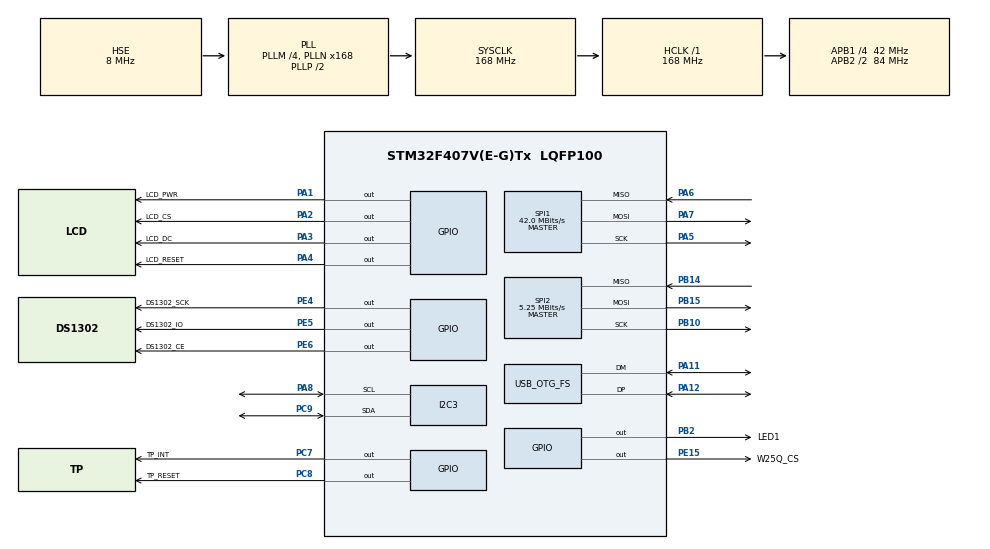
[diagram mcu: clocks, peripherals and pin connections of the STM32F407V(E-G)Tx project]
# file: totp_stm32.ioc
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Dma.Request0=SPI1_RX
Dma.Request1=SPI1_TX
Dma.SPI1_RX.0.Direction=DMA_PERIPH_TO_MEMORY
Dma.SPI1_RX.0.FIFOMode=DMA_FIFOMODE_DISABLE
Dma.SPI1_RX.0.Instance=DMA2_Stream0
Dma.SPI1_RX.0.MemDataAlignment=DMA_MDATAALIGN_BYTE
Dma.SPI1_RX.0.MemInc=DMA_MINC_ENABLE
Dma.SPI1_RX.0.Mode=DMA_NORMAL
Dma.SPI1_RX.0.PeriphDataAlignment=DMA_PDATAALIGN_BYTE
Dma.SPI1_RX.0.PeriphInc=DMA_PINC_DISABLE
Dma.SPI1_RX.0.Priority=DMA_PRIORITY_MEDIUM
Dma.SPI1_TX.1.Direction=DMA_MEMORY_TO_PERIPH
Dma.SPI1_TX.1.FIFOMode=DMA_FIFOMODE_DISABLE
Dma.SPI1_TX.1.Instance=DMA2_Stream3
Dma.SPI1_TX.1.MemDataAlignment=DMA_MDATAALIGN_BYTE
Dma.SPI1_TX.1.MemInc=DMA_MINC_ENABLE
Dma.SPI1_TX.1.Mode=DMA_NORMAL
Dma.SPI1_TX.1.PeriphDataAlignment=DMA_PDATAALIGN_BYTE
Dma.SPI1_TX.1.PeriphInc=DMA_PINC_DISABLE
Dma.SPI1_TX.1.Priority=DMA_PRIORITY_MEDIUM
FATFS._MAX_SS=4096
Mcu.Family=STM32F4
Mcu.Name=STM32F407V(E-G)Tx
Mcu.Package=LQFP100
NVIC.DMA2_Stream0_IRQn=true\:0\:0\:false\:false\:true\:false\:true\:true
NVIC.DMA2_Stream3_IRQn=true\:0\:0\:false\:false\:true\:false\:true\:true
NVIC.OTG_FS_IRQn=true\:0\:0\:false\:false\:true\:true\:true\:true
NVIC.PriorityGroup=NVIC_PRIORITYGROUP_4
PA1.GPIO_Label=LCD_PWR
PA1.Signal=GPIO_Output
PA11.Mode=Device_Only
PA11.Signal=USB_OTG_FS_DM
PA12.Mode=Device_Only
PA12.Signal=USB_OTG_FS_DP
PA13.Mode=Serial_Wire
PA13.Signal=SYS_JTMS-SWDIO
PA14.Mode=Serial_Wire
PA14.Signal=SYS_JTCK-SWCLK
PA2.GPIO_Label=LCD_CS
PA2.Signal=GPIO_Output
PA3.GPIO_Label=LCD_DC
PA3.Signal=GPIO_Output
PA4.GPIO_Label=LCD_RESET
PA4.Signal=GPIO_Output
PA5.Mode=Full_Duplex_Master
PA5.Signal=SPI1_SCK
PA6.Mode=Full_Duplex_Master
PA6.Signal=SPI1_MISO
PA7.Mode=Full_Duplex_Master
PA7.Signal=SPI1_MOSI
PA8.Mode=I2C
PA8.Signal=I2C3_SCL
PB10.Mode=Full_Duplex_Master
PB10.Signal=SPI2_SCK
PB14.Mode=Full_Duplex_Master
PB14.Signal=SPI2_MISO
PB15.Mode=Full_Duplex_Master
PB15.Signal=SPI2_MOSI
PB2.GPIO_Label=LED1
PB2.Signal=GPIO_Output
PC14-OSC32_IN.Mode=LSE-External-Oscillator
PC14-OSC32_IN.Signal=RCC_OSC32_IN
PC15-OSC32_OUT.Mode=LSE-External-Oscillator
PC15-OSC32_OUT.Signal=RCC_OSC32_OUT
PC7.GPIO_Label=TP_INT
PC7.GPIO_Speed=GPIO_SPEED_FREQ_HIGH
PC7.Signal=GPIO_Output
PC8.GPIO_Label=TP_RESET
PC8.GPIO_PuPd=GPIO_PULLUP
PC8.GPIO_Speed=GPIO_SPEED_FREQ_HIGH
PC8.Signal=GPIO_Output
PC9.Mode=I2C
PC9.Signal=I2C3_SDA
PE15.GPIO_Label=W25Q_CS
PE15.GPIO_Speed=GPIO_SPEED_FREQ_VERY_HIGH
PE15.Signal=GPIO_Output
PE4.GPIO_Label=DS1302_SCK
PE4.Signal=GPIO_Output
PE5.GPIO_Label=DS1302_IO
PE5.Signal=GPIO_Output
PE6.GPIO_Label=DS1302_CE
PE6.Signal=GPIO_Output
PH0-OSC_IN.Mode=HSE-External-Oscillator
PH0-OSC_IN.Signal=RCC_OSC_IN
PH1-OSC_OUT.Mode=HSE-External-Oscillator
PH1-OSC_OUT.Signal=RCC_OSC_OUT
ProjectManager.HeapSize=0x200
ProjectManager.StackSize=0x400
ProjectManager.TargetToolchain=STM32CubeIDE
RCC.48MHZClocksFreq_Value=48000000
RCC.AHBFreq_Value=168000000
RCC.APB1CLKDivider=RCC_HCLK_DIV4
RCC.APB1Freq_Value=42000000
RCC.APB1TimFreq_Value=84000000
RCC.APB2CLKDivider=RCC_HCLK_DIV2
RCC.APB2Freq_Value=84000000
RCC.APB2TimFreq_Value=168000000
RCC.CortexFreq_Value=168000000
RCC.HCLKFreq_Value=168000000
RCC.HSE_VALUE=8000000
RCC.HSI_VALUE=16000000
RCC.PLLM=4
RCC.PLLN=168
RCC.PLLQ=7
RCC.RCC_RTC_Clock_Source=RCC_RTCCLKSOURCE_LSI
RCC.RCC_RTC_Clock_SourceVirtual=RCC_RTCCLKSOURCE_LSE
RCC.SYSCLKFreq_VALUE=168000000
RCC.SYSCLKSource=RCC_SYSCLKSOURCE_PLLCLK
RCC.VCOOutputFreq_Value=336000000
SPI1.CalculateBaudRate=42.0 MBits/s
SPI1.Direction=SPI_DIRECTION_2LINES
SPI1.Mode=SPI_MODE_MASTER
SPI1.VirtualType=VM_MASTER
SPI2.BaudRatePrescaler=SPI_BAUDRATEPRESCALER_8
SPI2.CLKPhase=SPI_PHASE_1EDGE
SPI2.CLKPolarity=SPI_POLARITY_LOW
SPI2.CalculateBaudRate=5.25 MBits/s
SPI2.Direction=SPI_DIRECTION_2LINES
SPI2.Mode=SPI_MODE_MASTER
SPI2.VirtualType=VM_MASTER
USB_OTG_FS.VirtualMode=Device_Only
VP_FATFS_VS_Generic.Mode=User_defined
board=custom

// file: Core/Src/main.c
/* USER CODE BEGIN Header */
/**
  ******************************************************************************
  * @file           : main.c
  * @brief          : Main program body
  ******************************************************************************
  * @attention
  *
  * Copyright (c) 2025 STMicroelectronics.
  * All rights reserved.
  *
  * This software is licensed under terms that can be found in the LICENSE file
  * in the root directory of this software component.
  * If no LICENSE file comes with this software, it is provided AS-IS.
  *
  ******************************************************************************
  */
/* USER CODE END Header */
#include "main.h"
#include "fatfs.h"

/* USER CODE BEGIN Includes */
#include <stdio.h>
#include <sys/errno.h>
#include "SEGGER_RTT.h"

#include "lvgl.h"
#include "lv_port_disp.h"
#include "lv_port_indev.h"
#include "gui_guider.h"

#include "TOTP.h"
#include <time.h>

#include "app_usb_msc.h"
#include "ffconf.h"
#include "ff.h"
#include "file_opera.h"
#include "w25flash.h"

#include "base32.h"
#include "ds1302.h"
#include "usbd_core.h"
/* USER CODE END Includes */

/* USER CODE BEGIN PD */
#define BLK_ON HAL_GPIO_WritePin(LCD_PWR_GPIO_Port, LCD_PWR_Pin, GPIO_PIN_SET);
#define BLK_OFF HAL_GPIO_WritePin(LCD_PWR_GPIO_Port, LCD_PWR_Pin, GPIO_PIN_RESET);
#define printf(...) SEGGER_RTT_printf(0, ##__VA_ARGS__)
/* USER CODE END PD */

I2C_HandleTypeDef hi2c3;

SPI_HandleTypeDef hspi1;
SPI_HandleTypeDef hspi2;
DMA_HandleTypeDef hdma_spi1_rx;
DMA_HandleTypeDef hdma_spi1_tx;

PCD_HandleTypeDef hpcd_USB_OTG_FS;

/* USER CODE BEGIN PV */
uint8_t hours, minutes, seconds;
uint8_t weekday, date, month;
uint16_t year;
lv_ui guider_ui;
uint8_t hmacKey[] = {0x87, 0xa8, 0xfa, 0x14, 0x93, 0x6c, 0x4e, 0x64, 0x91, 0x0e};
Time_s syncTime = {.clockSystem = DS1302_CLK_SYSTEM_24};
Time_s systemTime = {.clockSystem = DS1302_CLK_SYSTEM_24};
TOTP_Generator generatorA;
TOTP_Generator generatorB;
TOTP_Generator generatorC;
TOTP_Generator generatorD;
TOTP_Generator generatorE;
int sync_state = 3; // 0 refer OK, 1 refer fail, 3 refer init
int err_times = 0;
/* USER CODE END PV */

void SystemClock_Config(void);
static void MX_GPIO_Init(void);
static void MX_DMA_Init(void);
static void MX_SPI1_Init(void);
static void MX_USB_OTG_FS_PCD_Init(void);
static void MX_I2C3_Init(void);
static void MX_SPI2_Init(void);

/* USER CODE BEGIN 0 */
void update_table_2fa()
{
  printf("%s\r\n", dataEntries[0].code);
  printf("%s\r\n", dataEntries[1].code);
  printf("%s\r\n", dataEntries[2].code);
  printf("%s\r\n", dataEntries[3].code);
  printf("%s\r\n", dataEntries[4].code);

  int len_hmacKeyA = 0;
  int len_hmacKeyB = 0;
  int len_hmacKeyC = 0;
  int len_hmacKeyD = 0;
  int len_hmacKeyE = 0;

  uint8_t* hmacKeyA = text_base32_decode_bytes(dataEntries[0].code, &len_hmacKeyA);
  uint8_t* hmacKeyB = text_base32_decode_bytes(dataEntries[1].code, &len_hmacKeyB);
  uint8_t* hmacKeyC = text_base32_decode_bytes(dataEntries[2].code, &len_hmacKeyC);
  uint8_t* hmacKeyD = text_base32_decode_bytes(dataEntries[3].code, &len_hmacKeyD);
  uint8_t* hmacKeyE = text_base32_decode_bytes(dataEntries[4].code, &len_hmacKeyE);

  printf("len hmacKeyA: %d\r\n", len_hmacKeyA);
  printf("len hmacKeyB: %d\r\n", len_hmacKeyB);
  printf("len hmacKeyC: %d\r\n", len_hmacKeyC);
  printf("len hmacKeyD: %d\r\n", len_hmacKeyD);
  printf("len hmacKeyE: %d\r\n", len_hmacKeyE);

  initTOTP(&generatorA, hmacKeyA, len_hmacKeyA, 30);
  initTOTP(&generatorB, hmacKeyB, len_hmacKeyB, 30);
  initTOTP(&generatorC, hmacKeyC, len_hmacKeyC, 30);
  initTOTP(&generatorD, hmacKeyD, len_hmacKeyD, 30);
  initTOTP(&generatorE, hmacKeyE, len_hmacKeyE, 30);
}

int _write(int file, char* ptr, int len)
{
  if (file == 1 /* stdout */ || file == 2 /* stderr */)
  {
    return SEGGER_RTT_Write(0, ptr, len);
  }
  errno = EBADF;
  return -1;
}

void update_table(lv_obj_t * obj)
{
  // row 1
  lv_table_set_cell_value(obj,1,0,"0");
  lv_table_set_cell_value(obj,1,1,"1");
  // lv_table_set_cell_value(obj,1,2,"2");

  // row 2
  lv_table_set_cell_value(obj,2,0,"0");
  lv_table_set_cell_value(obj,2,1,"1");
  // lv_table_set_cell_value(obj,2,2,"2");

  // row 3
  lv_table_set_cell_value(obj,3,0,"0");
  lv_table_set_cell_value(obj,3,1,"1");
  // lv_table_set_cell_value(obj,3,2,"2");

  // row 4
  lv_table_set_cell_value(obj,4,0,"0");
  lv_table_set_cell_value(obj,4,1,"1");
  // lv_table_set_cell_value(obj,4,2,"2");

  // row 5
  lv_table_set_cell_value(obj,5,0,"0");
  lv_table_set_cell_value(obj,5,1,"1");
  // lv_table_set_cell_value(obj,5,2,"2");
}

static void callback_import_account(lv_event_t* event)
{
  lv_event_code_t code = lv_event_get_code(event);
  if (code == LV_EVENT_CLICKED)
  {
    printf("callback_import_account\r\n");
    lv_obj_clear_flag(guider_ui.screen_msgbox_1, LV_OBJ_FLAG_HIDDEN);
    msc_init(0, USB_OTG_FS_PERIPH_BASE);
  }
}

static void callback_close_msc(lv_event_t* event)
{
  lv_event_code_t code = lv_event_get_code(event);
  if (code == LV_EVENT_CLICKED)
  {
    printf("callback_close_msc\r\n");
    read_and_parse_data("0:account.txt");
    update_table_2fa();
    lv_obj_add_flag(guider_ui.screen_msgbox_1, LV_OBJ_FLAG_HIDDEN);
    usbd_deinitialize(0);
  }
}

static void callback_sync_timestamp(lv_event_t* event)
{
  lv_event_code_t code = lv_event_get_code(event);
  if (code == LV_EVENT_CLICKED)
  {
    printf("callback_sync_timestamp\r\n");
    lv_obj_clear_flag(guider_ui.screen_msgbox_2, LV_OBJ_FLAG_HIDDEN);
    extern void cdc_acm_init(uint8_t busid, uintptr_t reg_base);
    cdc_acm_init(0, USB_OTG_FS_PERIPH_BASE);
  }
}

static void callback_close_cdc_acm(lv_event_t* event)
{
  lv_event_code_t code = lv_event_get_code(event);
  if (code == LV_EVENT_CLICKED)
  {
    printf("callback_close_cdc_acm\r\n");
    lv_obj_add_flag(guider_ui.screen_msgbox_2, LV_OBJ_FLAG_HIDDEN);
    usbd_deinitialize(0);
  }
}

static void callback_manual_edit(lv_event_t* event)
{
  lv_event_code_t code = lv_event_get_code(event);
  if (code == LV_EVENT_CLICKED)
  {
    printf("callback_manual_edit\r\n");
    char* tmp = fatTest_ReadTXTFile_ret_char("0:account.txt");
    printf("%s\r\n", tmp);

    for (char* p = tmp; *p; p++) {
      if (*p == '\r') *p = '\n';
    }

    lv_textarea_set_max_length(guider_ui.screen_ta_1, strlen(tmp) + 1);
    lv_textarea_set_text(guider_ui.screen_ta_1, tmp);

    lv_obj_clear_flag(guider_ui.screen_ta_1, LV_OBJ_FLAG_HIDDEN);
    lv_obj_set_scroll_dir(guider_ui.screen_ta_1, LV_DIR_VER);
  }
}

static void kb_event_cb(lv_event_t * e)
{
  lv_event_code_t code = lv_event_get_code(e);
  lv_obj_t * kb = lv_event_get_target(e);
  FATFS fs;

  if(code == LV_EVENT_READY) {
    const char* text = lv_textarea_get_text(guider_ui.screen_ta_1);
    printf("Text to save: %s\r\n", text);

    FRESULT res = f_mount(&fs, "0:", 1);
    if (res != FR_OK) {
      printf("f_mount failed: %d\r\n", res);
    } else {
      FIL file;
      res = f_open(&file, "0:account.txt", FA_WRITE | FA_CREATE_ALWAYS);
      if (res == FR_OK) {
        UINT written;
        res = f_write(&file, text, strlen(text), &written);
        f_close(&file);
        if (res == FR_OK)
          printf("Saved %u bytes to file\r\n", written);
        else
          printf("f_write error: %d\r\n", res);
      } else {
        printf("f_open error: %d\r\n", res);
      }
    }

    read_and_parse_data("0:account.txt");
    update_table_2fa();

    lv_obj_add_flag(kb, LV_OBJ_FLAG_HIDDEN);
    lv_obj_add_flag(guider_ui.screen_ta_1, LV_OBJ_FLAG_HIDDEN);
  }
}

uint32_t struct_time_timestamp(Time_s *time)
{
  struct tm t;

  t.tm_year = time->year + 2000 - 1900;
  t.tm_mon = time->month;
  t.tm_mday = time->date;
  t.tm_hour = time->hour;
  t.tm_min = time->min;
  t.tm_sec = time->sec;

  return mktime(&t);
}

void generateMultipleTOTPCodes(uint8_t* hmacKeys[5], uint8_t keyLength, uint32_t timestamp, uint32_t outputCodes[5]) {
  for (int i = 0; i < 5; ++i) {
    TOTP_Generator generator;
    initTOTP(&generator, hmacKeys[i], keyLength, 30);  // 30�벽��
    setTOTPTimezone(&generator, 0);                    // UTC 0ʱ��
    outputCodes[i] = getTOTPCodeFromTimestamp(&generator, timestamp);
  }
}

void decodeMultipleBase32Keys(const char* base32_texts[5], uint8_t* decoded_keys[5], int key_lengths[5]) {
  for (int i = 0; i < 5; ++i) {
    decoded_keys[i] = text_base32_decode_bytes(base32_texts[i], &key_lengths[i]);
  }
}

/* USER CODE END 0 */

int main(void)
{

  /* MCU Configuration--------------------------------------------------------*/

  /* Reset of all peripherals, Initializes the Flash interface and the Systick. */
  HAL_Init();

  /* Configure the system clock */
  SystemClock_Config();

  /* Initialize all configured peripherals */
  MX_GPIO_Init();
  MX_DMA_Init();
  MX_SPI1_Init();
  MX_I2C3_Init();
  MX_FATFS_Init();
  MX_SPI2_Init();
  /* USER CODE BEGIN 2 */
  SEGGER_RTT_Init();
  SEGGER_RTT_printf(0, "System begin...\r\n");

  BLK_OFF;
  lv_init();
  lv_port_disp_init();
  lv_port_indev_init();
  setup_ui(&guider_ui);
  BLK_ON;

  ds1302_init();

  W25QXX_Init();

  read_and_parse_data("0:account.txt");

  uint32_t current_timestamp = 0;

  update_table_2fa();

  lv_obj_add_event_cb(guider_ui.screen_list_2_item1, callback_import_account, LV_EVENT_CLICKED, NULL);
  lv_obj_add_event_cb(guider_ui.screen_msgbox_1, callback_close_msc, LV_EVENT_CLICKED, NULL);

  lv_obj_add_event_cb(guider_ui.screen_list_4_item0, callback_sync_timestamp, LV_EVENT_CLICKED, NULL);
  lv_obj_add_event_cb(guider_ui.screen_msgbox_2, callback_close_cdc_acm, LV_EVENT_CLICKED, NULL);

  lv_obj_add_event_cb(guider_ui.screen_list_2_item0, callback_manual_edit, LV_EVENT_CLICKED, NULL);

  lv_obj_add_event_cb(guider_ui.g_kb_top_layer, kb_event_cb, LV_EVENT_ALL, NULL);

  uint32_t i_time = 0;
  /* USER CODE END 2 */

  /* Infinite loop */
  /* USER CODE BEGIN WHILE */
  while (1)
  {
    // i_time++;
    // if (i_time == 5000)
    // {
      // i_time = 0;
      if (systemTime.sec >= 30)
      {
        char tmp[16] = {0};
        sprintf(tmp, "%d", 60 - systemTime.sec);
        lv_table_set_cell_value(guider_ui.screen_table_1, 1, 2, tmp);
        lv_table_set_cell_value(guider_ui.screen_table_1, 2, 2, tmp);
        lv_table_set_cell_value(guider_ui.screen_table_1, 3, 2, tmp);
        lv_table_set_cell_value(guider_ui.screen_table_1, 4, 2, tmp);
        lv_table_set_cell_value(guider_ui.screen_table_1, 5, 2, tmp);
      }else
      {
        char tmp[16] = {0};
        sprintf(tmp, "%d",30 - systemTime.sec);
        lv_table_set_cell_value(guider_ui.screen_table_1, 1, 2, tmp);
        lv_table_set_cell_value(guider_ui.screen_table_1, 2, 2, tmp);
        lv_table_set_cell_value(guider_ui.screen_table_1, 3, 2, tmp);
        lv_table_set_cell_value(guider_ui.screen_table_1, 4, 2, tmp);
        lv_table_set_cell_value(guider_ui.screen_table_1, 5, 2, tmp);
      }

      if (sync_state == 1 && err_times == 0)
      {
        err_times = 1;
        extern void usb_transmit_string(uint8_t *data, int32_t length);
        usb_transmit_string("fail\r\n", 6);
      }else if (sync_state == 0 && err_times == 0)
      {
        err_times = 1;
        extern void usb_transmit_string(uint8_t *data, int32_t length);
        usb_transmit_string("ok\r\n", 6);
      }

      ds1302_get_time(&systemTime);

      current_timestamp = struct_time_timestamp(&systemTime) - (uint32_t) 2620800;

      printf("%u\r\n", current_timestamp);

      uint32_t codeA = getTOTPCodeFromTimestamp(&generatorA, current_timestamp);
      uint32_t codeB = getTOTPCodeFromTimestamp(&generatorB, current_timestamp);
      uint32_t codeC = getTOTPCodeFromTimestamp(&generatorC, current_timestamp);
      uint32_t codeD = getTOTPCodeFromTimestamp(&generatorD, current_timestamp);
      uint32_t codeE = getTOTPCodeFromTimestamp(&generatorE, current_timestamp);

      lv_table_set_cell_value_fmt(guider_ui.screen_table_1, 1, 1, "%06u\r\n", codeA);
      lv_table_set_cell_value_fmt(guider_ui.screen_table_1, 2, 1, "%06u\r\n", codeB);
      lv_table_set_cell_value_fmt(guider_ui.screen_table_1, 3, 1, "%06u\r\n", codeC);
      lv_table_set_cell_value_fmt(guider_ui.screen_table_1, 4, 1, "%06u\r\n", codeD);
      lv_table_set_cell_value_fmt(guider_ui.screen_table_1, 5, 1, "%06u\r\n", codeE);
    // }

    // printf("%06u\r\n", codeA);
    // printf("%06u\r\n", codeB);
    // printf("%06u\r\n", codeC);
    // printf("%06u\r\n", codeD);
    // printf("%06u\r\n", codeE);

    // SEGGER_RTT_printf(0, "Current Unix Timestamp: %lu\r\n", current_timestamp);
    // printf("OTP: %06u\n", code);
    // SEGGER_RTT_printf(0, "Current Unix Timestamp: %lu\r\n", current_timestamp);
    // SEGGER_RTT_printf(0, "Current Code: %lu\r\n", code);
    // SEGGER_RTT_printf(0, "alive\r\n");
    lv_timer_handler();
    /* USER CODE END WHILE */

  }
}

void SystemClock_Config(void)
{
  RCC_OscInitTypeDef RCC_OscInitStruct = {0};
  RCC_ClkInitTypeDef RCC_ClkInitStruct = {0};

  /** Configure the main internal regulator output voltage
  */
  __HAL_RCC_PWR_CLK_ENABLE();
  __HAL_PWR_VOLTAGESCALING_CONFIG(PWR_REGULATOR_VOLTAGE_SCALE1);

  /** Initializes the RCC Oscillators according to the specified parameters
  * in the RCC_OscInitTypeDef structure.
  */
  RCC_OscInitStruct.OscillatorType = RCC_OSCILLATORTYPE_HSE;
  RCC_OscInitStruct.HSEState = RCC_HSE_ON;
  RCC_OscInitStruct.PLL.PLLState = RCC_PLL_ON;
  RCC_OscInitStruct.PLL.PLLSource = RCC_PLLSOURCE_HSE;
  RCC_OscInitStruct.PLL.PLLM = 4;
  RCC_OscInitStruct.PLL.PLLN = 168;
  RCC_OscInitStruct.PLL.PLLP = RCC_PLLP_DIV2;
  RCC_OscInitStruct.PLL.PLLQ = 7;
  if (HAL_RCC_OscConfig(&RCC_OscInitStruct) != HAL_OK)
  {
    Error_Handler();
  }

  /** Initializes the CPU, AHB and APB buses clocks
  */
  RCC_ClkInitStruct.ClockType = RCC_CLOCKTYPE_HCLK|RCC_CLOCKTYPE_SYSCLK
                              |RCC_CLOCKTYPE_PCLK1|RCC_CLOCKTYPE_PCLK2;
  RCC_ClkInitStruct.SYSCLKSource = RCC_SYSCLKSOURCE_PLLCLK;
  RCC_ClkInitStruct.AHBCLKDivider = RCC_SYSCLK_DIV1;
  RCC_ClkInitStruct.APB1CLKDivider = RCC_HCLK_DIV4;
  RCC_ClkInitStruct.APB2CLKDivider = RCC_HCLK_DIV2;

  if (HAL_RCC_ClockConfig(&RCC_ClkInitStruct, FLASH_LATENCY_5) != HAL_OK)
  {
    Error_Handler();
  }
}

static void MX_I2C3_Init(void)
{

  hi2c3.Instance = I2C3;
  hi2c3.Init.ClockSpeed = 100000;
  hi2c3.Init.DutyCycle = I2C_DUTYCYCLE_2;
  hi2c3.Init.OwnAddress1 = 0;
  hi2c3.Init.AddressingMode = I2C_ADDRESSINGMODE_7BIT;
  hi2c3.Init.DualAddressMode = I2C_DUALADDRESS_DISABLE;
  hi2c3.Init.OwnAddress2 = 0;
  hi2c3.Init.GeneralCallMode = I2C_GENERALCALL_DISABLE;
  hi2c3.Init.NoStretchMode = I2C_NOSTRETCH_DISABLE;
  if (HAL_I2C_Init(&hi2c3) != HAL_OK)
  {
    Error_Handler();
  }

}

static void MX_SPI1_Init(void)
{

  /* SPI1 parameter configuration*/
  hspi1.Instance = SPI1;
  hspi1.Init.Mode = SPI_MODE_MASTER;
  hspi1.Init.Direction = SPI_DIRECTION_2LINES;
  hspi1.Init.DataSize = SPI_DATASIZE_8BIT;
  hspi1.Init.CLKPolarity = SPI_POLARITY_LOW;
  hspi1.Init.CLKPhase = SPI_PHASE_1EDGE;
  hspi1.Init.NSS = SPI_NSS_SOFT;
  hspi1.Init.BaudRatePrescaler = SPI_BAUDRATEPRESCALER_2;
  hspi1.Init.FirstBit = SPI_FIRSTBIT_MSB;
  hspi1.Init.TIMode = SPI_TIMODE_DISABLE;
  hspi1.Init.CRCCalculation = SPI_CRCCALCULATION_DISABLE;
  hspi1.Init.CRCPolynomial = 10;
  if (HAL_SPI_Init(&hspi1) != HAL_OK)
  {
    Error_Handler();
  }

}

static void MX_SPI2_Init(void)
{

  /* SPI2 parameter configuration*/
  hspi2.Instance = SPI2;
  hspi2.Init.Mode = SPI_MODE_MASTER;
  hspi2.Init.Direction = SPI_DIRECTION_2LINES;
  hspi2.Init.DataSize = SPI_DATASIZE_8BIT;
  hspi2.Init.CLKPolarity = SPI_POLARITY_LOW;
  hspi2.Init.CLKPhase = SPI_PHASE_1EDGE;
  hspi2.Init.NSS = SPI_NSS_SOFT;
  hspi2.Init.BaudRatePrescaler = SPI_BAUDRATEPRESCALER_8;
  hspi2.Init.FirstBit = SPI_FIRSTBIT_MSB;
  hspi2.Init.TIMode = SPI_TIMODE_DISABLE;
  hspi2.Init.CRCCalculation = SPI_CRCCALCULATION_DISABLE;
  hspi2.Init.CRCPolynomial = 10;
  if (HAL_SPI_Init(&hspi2) != HAL_OK)
  {
    Error_Handler();
  }

}

static void MX_USB_OTG_FS_PCD_Init(void)
{

  hpcd_USB_OTG_FS.Instance = USB_OTG_FS;
  hpcd_USB_OTG_FS.Init.dev_endpoints = 4;
  hpcd_USB_OTG_FS.Init.speed = PCD_SPEED_FULL;
  hpcd_USB_OTG_FS.Init.dma_enable = DISABLE;
  hpcd_USB_OTG_FS.Init.phy_itface = PCD_PHY_EMBEDDED;
  hpcd_USB_OTG_FS.Init.Sof_enable = DISABLE;
  hpcd_USB_OTG_FS.Init.low_power_enable = DISABLE;
  hpcd_USB_OTG_FS.Init.lpm_enable = DISABLE;
  hpcd_USB_OTG_FS.Init.vbus_sensing_enable = DISABLE;
  hpcd_USB_OTG_FS.Init.use_dedicated_ep1 = DISABLE;
  if (HAL_PCD_Init(&hpcd_USB_OTG_FS) != HAL_OK)
  {
    Error_Handler();
  }

}

static void MX_DMA_Init(void)
{

  /* DMA controller clock enable */
  __HAL_RCC_DMA2_CLK_ENABLE();

  /* DMA interrupt init */
  /* DMA2_Stream0_IRQn interrupt configuration */
  HAL_NVIC_SetPriority(DMA2_Stream0_IRQn, 0, 0);
  HAL_NVIC_EnableIRQ(DMA2_Stream0_IRQn);
  /* DMA2_Stream3_IRQn interrupt configuration */
  HAL_NVIC_SetPriority(DMA2_Stream3_IRQn, 0, 0);
  HAL_NVIC_EnableIRQ(DMA2_Stream3_IRQn);

}

static void MX_GPIO_Init(void)
{
  GPIO_InitTypeDef GPIO_InitStruct = {0};

  /* GPIO Ports Clock Enable */
  __HAL_RCC_GPIOE_CLK_ENABLE();
  __HAL_RCC_GPIOC_CLK_ENABLE();
  __HAL_RCC_GPIOH_CLK_ENABLE();
  __HAL_RCC_GPIOA_CLK_ENABLE();
  __HAL_RCC_GPIOB_CLK_ENABLE();

  /*Configure GPIO pin Output Level */
  HAL_GPIO_WritePin(GPIOE, DS1302_SCK_Pin|DS1302_IO_Pin|DS1302_CE_Pin|W25Q_CS_Pin, GPIO_PIN_RESET);

  /*Configure GPIO pin Output Level */
  HAL_GPIO_WritePin(GPIOA, LCD_PWR_Pin|LCD_CS_Pin|LCD_DC_Pin|LCD_RESET_Pin, GPIO_PIN_RESET);

  /*Configure GPIO pin Output Level */
  HAL_GPIO_WritePin(LED1_GPIO_Port, LED1_Pin, GPIO_PIN_RESET);

  /*Configure GPIO pin Output Level */
  HAL_GPIO_WritePin(GPIOC, TP_INT_Pin|TP_RESET_Pin, GPIO_PIN_RESET);

  /*Configure GPIO pins : DS1302_SCK_Pin DS1302_IO_Pin DS1302_CE_Pin */
  GPIO_InitStruct.Pin = DS1302_SCK_Pin|DS1302_IO_Pin|DS1302_CE_Pin;
  GPIO_InitStruct.Mode = GPIO_MODE_OUTPUT_PP;
  GPIO_InitStruct.Pull = GPIO_NOPULL;
  GPIO_InitStruct.Speed = GPIO_SPEED_FREQ_LOW;
  HAL_GPIO_Init(GPIOE, &GPIO_InitStruct);

  /*Configure GPIO pins : LCD_PWR_Pin LCD_CS_Pin LCD_DC_Pin LCD_RESET_Pin */
  GPIO_InitStruct.Pin = LCD_PWR_Pin|LCD_CS_Pin|LCD_DC_Pin|LCD_RESET_Pin;
  GPIO_InitStruct.Mode = GPIO_MODE_OUTPUT_PP;
  GPIO_InitStruct.Pull = GPIO_NOPULL;
  GPIO_InitStruct.Speed = GPIO_SPEED_FREQ_LOW;
  HAL_GPIO_Init(GPIOA, &GPIO_InitStruct);

  /*Configure GPIO pin : LED1_Pin */
  GPIO_InitStruct.Pin = LED1_Pin;
  GPIO_InitStruct.Mode = GPIO_MODE_OUTPUT_PP;
  GPIO_InitStruct.Pull = GPIO_NOPULL;
  GPIO_InitStruct.Speed = GPIO_SPEED_FREQ_LOW;
  HAL_GPIO_Init(LED1_GPIO_Port, &GPIO_InitStruct);

  /*Configure GPIO pin : W25Q_CS_Pin */
  GPIO_InitStruct.Pin = W25Q_CS_Pin;
  GPIO_InitStruct.Mode = GPIO_MODE_OUTPUT_PP;
  GPIO_InitStruct.Pull = GPIO_NOPULL;
  GPIO_InitStruct.Speed = GPIO_SPEED_FREQ_VERY_HIGH;
  HAL_GPIO_Init(W25Q_CS_GPIO_Port, &GPIO_InitStruct);

  /*Configure GPIO pin : TP_INT_Pin */
  GPIO_InitStruct.Pin = TP_INT_Pin;
  GPIO_InitStruct.Mode = GPIO_MODE_OUTPUT_PP;
  GPIO_InitStruct.Pull = GPIO_NOPULL;
  GPIO_InitStruct.Speed = GPIO_SPEED_FREQ_HIGH;
  HAL_GPIO_Init(TP_INT_GPIO_Port, &GPIO_InitStruct);

  /*Configure GPIO pin : TP_RESET_Pin */
  GPIO_InitStruct.Pin = TP_RESET_Pin;
  GPIO_InitStruct.Mode = GPIO_MODE_OUTPUT_PP;
  GPIO_InitStruct.Pull = GPIO_PULLUP;
  GPIO_InitStruct.Speed = GPIO_SPEED_FREQ_HIGH;
  HAL_GPIO_Init(TP_RESET_GPIO_Port, &GPIO_InitStruct);

}

/* USER CODE BEGIN 4 */
void SPI1_SetSpeed(uint8_t SpeedSet)
{

  if(SpeedSet==1)
  {
    hspi1.Init.BaudRatePrescaler = SPI_BAUDRATEPRESCALER_2;
  }
  else
  {
    hspi1.Init.BaudRatePrescaler = SPI_BAUDRATEPRESCALER_8;
  }
  if (HAL_SPI_Init(&hspi1) != HAL_OK)
  {
    Error_Handler();
  }
}
/* USER CODE END 4 */

void Error_Handler(void)
{
  __disable_irq();
  while (1)
  {
  }
}
